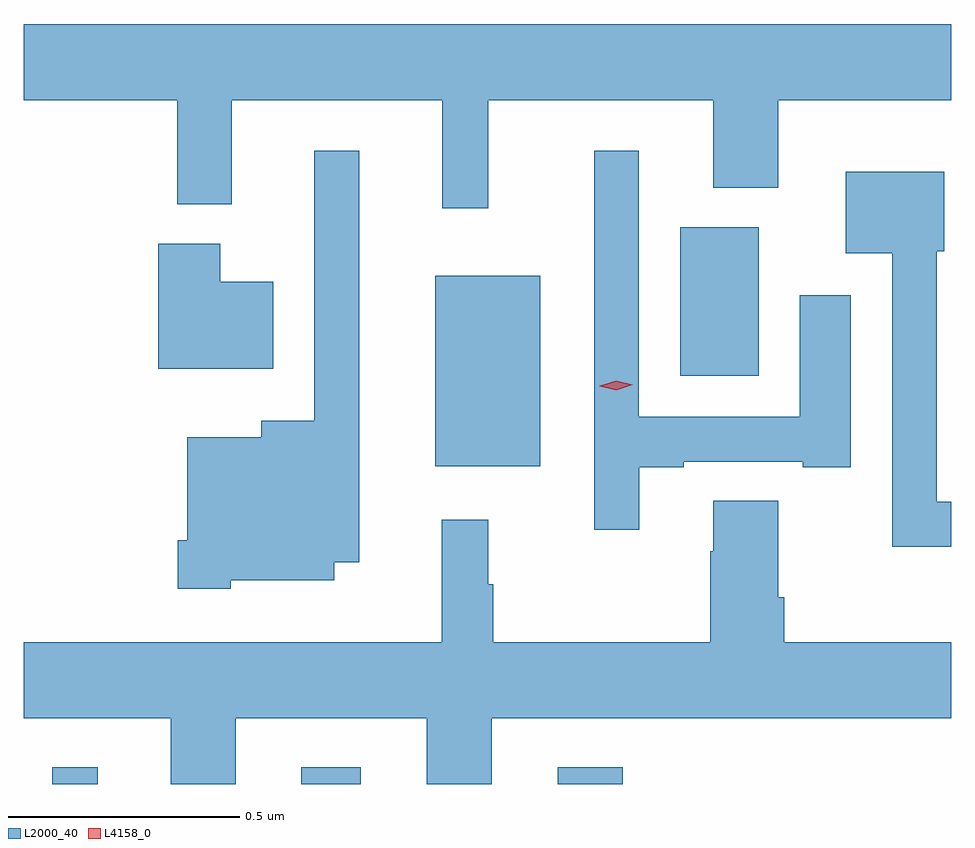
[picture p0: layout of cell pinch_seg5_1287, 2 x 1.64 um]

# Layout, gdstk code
import gdstk
lib = gdstk.Library(unit=1e-6, precision=1e-09)
def R(c, l, rs):  # rectangles x0, y0, x1, y1
    for r in rs: c.add(gdstk.rectangle(r[:2], r[2:], *l))
def P(c, l, *ps):  # polygons
    for p in ps: c.add(gdstk.Polygon(p, *l))
L2000_40 = (2000, 40)
L4158_0 = (4158, 0)

pinch_seg5_1287 = lib.new_cell('pinch_seg5_1287')
R(pinch_seg5_1287, L2000_40, [(434.846,873.934,434.944,873.97), (435.383,873.934,435.511,873.97), (435.935,873.934,436.076,873.97), (435.671,874.619,435.898,875.029), (436.199,874.814,436.369,875.134)])
P(pinch_seg5_1287, L2000_40, [(435.786,875.408),(436.271,875.408),(436.271,875.219),(436.411,875.219),(436.411,875.408),(436.784,875.408),(436.784,875.572),(434.784,875.572),(434.784,875.408),(435.115,875.408),(435.115,875.183),(435.233,875.183),(435.233,875.408),(435.686,875.408),(435.686,875.175),(435.786,875.175)],
  [(435.231,874.373),(435.454,874.373),(435.454,874.412),(435.508,874.412),(435.508,875.299),(435.411,875.299),(435.411,874.717),(435.296,874.717),(435.296,874.681),(435.137,874.681),(435.137,874.459),(435.116,874.459),(435.116,874.355),(435.231,874.355)],
  [(436.111,874.617),(436.207,874.617),(436.207,874.629),(436.463,874.629),(436.463,874.617),(436.567,874.617),(436.567,874.987),(436.457,874.987),(436.457,874.725),(436.11,874.725),(436.11,875.299),(436.014,875.299),(436.014,874.482),(436.111,874.482)],
  [(436.784,874.542),(436.752,874.542),(436.752,875.082),(436.768,875.082),(436.768,875.254),(436.556,875.254),(436.556,875.078),(436.656,875.078),(436.656,874.445),(436.784,874.445)],
  [(435.322,875.017),(435.208,875.017),(435.208,875.098),(435.074,875.098),(435.074,874.829),(435.322,874.829)],
  [(435.241,874.076),(435.653,874.076),(435.653,873.934),(435.793,873.934),(435.793,874.076),(436.784,874.076),(436.784,874.24),(436.424,874.24),(436.424,874.336),(436.411,874.336),(436.411,874.544),(436.271,874.544),(436.271,874.436),(436.264,874.436),(436.264,874.24),(435.796,874.24),(435.796,874.364),(435.786,874.364),(435.786,874.504),(435.685,874.504),(435.685,874.24),(434.784,874.24),(434.784,874.076),(435.101,874.076),(435.101,873.934),(435.241,873.934)])
P(pinch_seg5_1287, L4158_0, [(436.062,874.783),(436.026,874.791),(436.026,874.791),(436.026,874.792),(436.061,874.803),(436.097,874.794),(436.097,874.794),(436.097,874.794)])

lib.write_gds('pinch_seg5_1287.gds')
